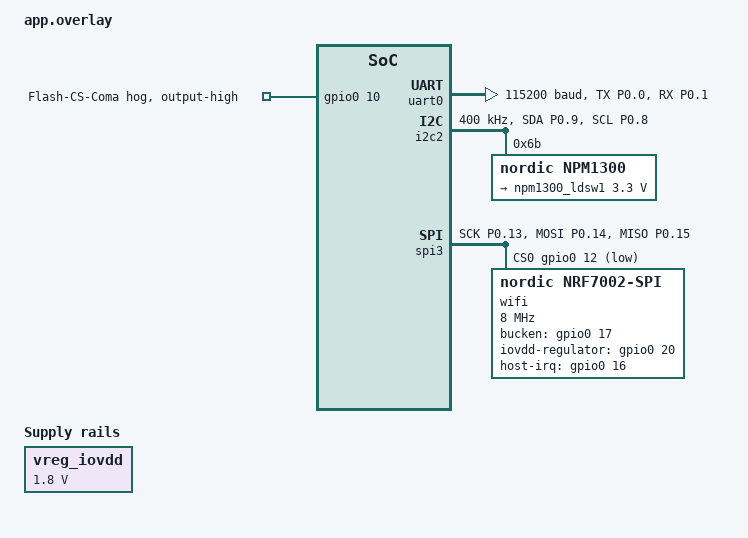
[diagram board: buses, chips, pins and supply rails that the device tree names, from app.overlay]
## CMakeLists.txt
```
# Require a minimum CMake version (Standard for NCS)
cmake_minimum_required(VERSION 3.20.0)

# Find the Zephyr package. This is the magic line that loads the whole RTOS.
find_package(Zephyr REQUIRED HINTS $ENV{ZEPHYR_BASE})

# Name your specific project
project(test)

target_sources(app PRIVATE src/main.c)
```

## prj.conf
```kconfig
CONFIG_LOG=y
CONFIG_LOG_DEFAULT_LEVEL=3
CONFIG_UART_CONSOLE=y

# Disable Wi-Fi driver and its dependencies
CONFIG_WIFI=n
CONFIG_WIFI_NRF70=n
CONFIG_WIFI_NM_WPA_SUPPLICANT=n

# Keep basic hardware enabled
CONFIG_SPI=y
CONFIG_SPI_NRFX=y
CONFIG_GPIO=y
CONFIG_I2C=y
CONFIG_REGULATOR=y
CONFIG_MFD=y
```

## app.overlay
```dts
#include <zephyr/dt-bindings/regulator/npm13xx.h>

/ {
    chosen {
        /* Tells the Zephyr network stack exactly which node handles Wi-Fi */
        zephyr,wifi = &wifi;
    };


    vreg_iovdd: vreg_iovdd {
        compatible = "regulator-fixed";
        regulator-name = "vreg_iovdd";
        regulator-min-microvolt = <1800000>;
        regulator-max-microvolt = <1800000>;
        regulator-always-on;
    };


};

&pinctrl {
    uart0_default: uart0_default {
        group1 {
            psels = <NRF_PSEL(UART_TX, 0, 0)>,
                    <NRF_PSEL(UART_RX, 0, 1)>;
        };
    };
    uart0_sleep: uart0_sleep {
        group1 {
            psels = <NRF_PSEL(UART_TX, 0, 0)>,
                    <NRF_PSEL(UART_RX, 0, 1)>;
            low-power-enable;
        };
    };

    uart1_default: uart1_default {
        group1 {
            psels = <NRF_PSEL(UART_TX, 0, 29)>;
        };
        group2 {
            psels = <NRF_PSEL(UART_RX, 0, 28)>;
            bias-pull-up;
        };
    };
    uart1_sleep: uart1_sleep {
        group1 {
            psels = <NRF_PSEL(UART_TX, 0, 29)>,
                    <NRF_PSEL(UART_RX, 0, 28)>;
            low-power-enable;
        };
    };

    spi3_default: spi3_default {
        group1 {
            psels = <NRF_PSEL(SPIM_SCK,  0, 13)>,
                    <NRF_PSEL(SPIM_MOSI, 0, 14)>,
                    <NRF_PSEL(SPIM_MISO, 0, 15)>;
            nordic,drive-mode = <NRF_DRIVE_H0H1>;
            bias-pull-up;
        };
    };
    spi3_sleep: spi3_sleep {
        group1 {
            psels = <NRF_PSEL(SPIM_SCK,  0, 13)>,
                    <NRF_PSEL(SPIM_MOSI, 0, 14)>,
                    <NRF_PSEL(SPIM_MISO, 0, 15)>;
            low-power-enable;
        };
    };

    i2c2_default: i2c2_default {
        group1 {
            psels = <NRF_PSEL(TWIM_SDA, 0, 9)>,
                    <NRF_PSEL(TWIM_SCL, 0, 8)>;
        };
    };
    i2c2_sleep: i2c2_sleep {
        group1 {
            psels = <NRF_PSEL(TWIM_SDA, 0, 9)>,
                    <NRF_PSEL(TWIM_SCL, 0, 8)>;
            low-power-enable;
        };
    };
};

/* Lock Flash CS high so it never contends on the SPI bus */
&gpio0 {
    flash_coma {
        gpio-hog;
        gpios = <10 GPIO_ACTIVE_HIGH>;
        output-high;
        line-name = "Flash-CS-Coma";
    };
};

&uart0 {
    status = "okay";
    current-speed = <115200>;
    pinctrl-0 = <&uart0_default>;
    pinctrl-1 = <&uart0_sleep>;
    pinctrl-names = "default", "sleep";
};

&uart1 {
    status = "disabled";
    /delete-property/ hw-flow-control;
};

&i2c2 {
    status = "okay";
    pinctrl-0 = <&i2c2_default>;
    pinctrl-1 = <&i2c2_sleep>;
    pinctrl-names = "default", "sleep";
    clock-frequency = <I2C_BITRATE_FAST>;
    zephyr,concat-buf-size = <2048>;
    zephyr,flash-buf-max-size = <2048>;

    npm1300: pmic@6b {
        compatible = "nordic,npm1300";
        reg = <0x6b>;
        status = "okay";

        npm1300_regulators: regulators {
            compatible = "nordic,npm1300-regulator";
            status = "okay";
        };

        npm1300_charger: charger {
            compatible = "nordic,npm1300-charger";
            status = "okay";
            vbus-limit-microamp = <500000>;
            term-microvolt = <4200000>;
            current-microamp = <400000>;
            dischg-limit-microamp = <1000000>;
            thermistor-ohms = <10000>;
            thermistor-beta = <3380>;
        };
    };
};

&spi3 {
    status = "okay";
    pinctrl-0 = <&spi3_default>;
    pinctrl-1 = <&spi3_sleep>;
    pinctrl-names = "default", "sleep";
    cs-gpios = <&gpio0 12 GPIO_ACTIVE_LOW>;

    wifi: nrf7002@0 {
        compatible = "nordic,nrf7002-spi";
        status = "okay";
        reg = <0>;
        spi-max-frequency = <8000000>;

        bucken-gpios = <&gpio0 17 GPIO_ACTIVE_HIGH>;

        /* CHANGE THIS LINE BACK TO vreg_iovdd */
        iovdd-regulator = <&gpio0 20 GPIO_ACTIVE_HIGH>;

        host-irq-gpios  = <&gpio0 16 GPIO_ACTIVE_HIGH>;
    };

};

&npm1300_regulators {
    npm1300_ldsw1: LDO1 {
        status = "okay";
        regulator-min-microvolt = <3300000>;
        regulator-max-microvolt = <3300000>;
        regulator-initial-mode = <NPM13XX_LDSW_MODE_LDSW>;
        active-discharge;
        /* NO AUTO-BOOT COMMANDS HERE */
    };
};

&uart2 { status = "disabled"; };
&spi0  { status = "disabled"; };
&spi1  { status = "disabled"; };
&spi2  { status = "disabled"; };
```

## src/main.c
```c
#include <zephyr/kernel.h>
#include <zephyr/device.h>
#include <zephyr/drivers/gpio.h>
#include <zephyr/drivers/regulator.h>
#include <zephyr/logging/log.h>

LOG_MODULE_REGISTER(bodge_test, LOG_LEVEL_INF);

#define BUCKEN_PIN 17 

static const struct device *gpio0_dev = DEVICE_DT_GET(DT_NODELABEL(gpio0));
static const struct device *ldo1_dev  = DEVICE_DT_GET(DT_NODELABEL(npm1300_ldsw1));

int main(void)
{
    LOG_INF("--- ASSASSINATE AND RESUSCITATE SEQUENCE ---");

    if (!device_is_ready(gpio0_dev) || !device_is_ready(ldo1_dev)) {
        LOG_ERR("Devices not ready.");
        return 0;
    }

    /* STEP 1: PIN BUCKEN TO GROUND */
    gpio_pin_configure(gpio0_dev, BUCKEN_PIN, GPIO_OUTPUT_INACTIVE);
    
    /* STEP 2: KILL THE 3.3V RAIL */
    /* Force LDO1 off to shut down the buck-boost converter */
    regulator_disable(ldo1_dev);
    LOG_INF("1. LDO1 KILLED. The 3.3V LED should turn OFF right now.");

    /* Wait 3 full seconds. Watch the LED. 
       This drains the capacitors and breaks the Wi-Fi chip's latch-up state. */
    k_sleep(K_SECONDS(20));

    /* STEP 3: REBUILD THE POWER CLEANLY */
    LOG_INF("2. Turning 3.3V (LDO1) back ON cleanly.");
    regulator_enable(ldo1_dev);

    /* Give the buck-boost 500ms to stabilize its magnetic field */
    LOG_INF("CHECK 2.6v");
    k_sleep(K_SECONDS(30));

    /* STEP 4: WAKE UP WI-FI CHIP */
    LOG_INF("3. Waking up Wi-Fi chip (BUCKEN = HIGH).");
    gpio_pin_set(gpio0_dev, BUCKEN_PIN, 1);  

    LOG_INF("--- SEQUENCE COMPLETE. MEASURE RAILS NOW ---");

    while (1) {
        k_sleep(K_SECONDS(1)); 
    }

    return 0;
}
```
